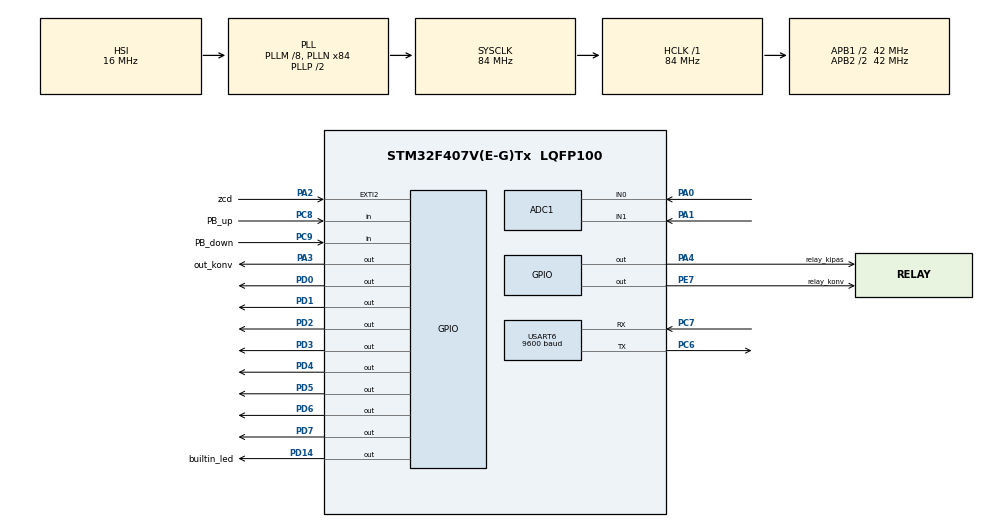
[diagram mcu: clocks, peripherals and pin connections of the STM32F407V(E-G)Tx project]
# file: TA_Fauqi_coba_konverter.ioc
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ADC1.Channel-0\#ChannelRegularConversion=ADC_CHANNEL_0
ADC1.Channel-1\#ChannelRegularConversion=ADC_CHANNEL_1
ADC1.ClockPrescaler=ADC_CLOCK_SYNC_PCLK_DIV8
ADC1.ContinuousConvMode=ENABLE
ADC1.DMAContinuousRequests=ENABLE
ADC1.NbrOfConversion=2
ADC1.NbrOfConversionFlag=1
ADC1.Rank-0\#ChannelRegularConversion=1
ADC1.Rank-1\#ChannelRegularConversion=2
ADC1.SamplingTime-0\#ChannelRegularConversion=ADC_SAMPLETIME_480CYCLES
ADC1.SamplingTime-1\#ChannelRegularConversion=ADC_SAMPLETIME_480CYCLES
ADC1.ScanConvMode=ENABLE
ADC1.master=1
Dma.ADC1.0.Direction=DMA_PERIPH_TO_MEMORY
Dma.ADC1.0.FIFOMode=DMA_FIFOMODE_DISABLE
Dma.ADC1.0.Instance=DMA2_Stream0
Dma.ADC1.0.MemDataAlignment=DMA_MDATAALIGN_HALFWORD
Dma.ADC1.0.MemInc=DMA_MINC_ENABLE
Dma.ADC1.0.Mode=DMA_CIRCULAR
Dma.ADC1.0.PeriphDataAlignment=DMA_PDATAALIGN_HALFWORD
Dma.ADC1.0.PeriphInc=DMA_PINC_DISABLE
Dma.ADC1.0.Priority=DMA_PRIORITY_LOW
Dma.Request0=ADC1
Dma.Request1=USART6_RX
Dma.Request2=USART6_TX
Dma.USART6_RX.1.Direction=DMA_PERIPH_TO_MEMORY
Dma.USART6_RX.1.FIFOMode=DMA_FIFOMODE_DISABLE
Dma.USART6_RX.1.Instance=DMA2_Stream1
Dma.USART6_RX.1.MemDataAlignment=DMA_MDATAALIGN_BYTE
Dma.USART6_RX.1.MemInc=DMA_MINC_ENABLE
Dma.USART6_RX.1.Mode=DMA_NORMAL
Dma.USART6_RX.1.PeriphDataAlignment=DMA_PDATAALIGN_BYTE
Dma.USART6_RX.1.PeriphInc=DMA_PINC_DISABLE
Dma.USART6_RX.1.Priority=DMA_PRIORITY_VERY_HIGH
Dma.USART6_TX.2.Direction=DMA_MEMORY_TO_PERIPH
Dma.USART6_TX.2.FIFOMode=DMA_FIFOMODE_DISABLE
Dma.USART6_TX.2.Instance=DMA2_Stream6
Dma.USART6_TX.2.MemDataAlignment=DMA_MDATAALIGN_BYTE
Dma.USART6_TX.2.MemInc=DMA_MINC_ENABLE
Dma.USART6_TX.2.Mode=DMA_NORMAL
Dma.USART6_TX.2.PeriphDataAlignment=DMA_PDATAALIGN_BYTE
Dma.USART6_TX.2.PeriphInc=DMA_PINC_DISABLE
Dma.USART6_TX.2.Priority=DMA_PRIORITY_LOW
Mcu.Family=STM32F4
Mcu.Name=STM32F407V(E-G)Tx
Mcu.Package=LQFP100
NVIC.ADC_IRQn=true\:0\:0\:false\:false\:true\:true\:true
NVIC.DMA2_Stream0_IRQn=true\:0\:0\:false\:false\:true\:false\:true
NVIC.DMA2_Stream1_IRQn=true\:0\:0\:false\:false\:true\:false\:true
NVIC.DMA2_Stream6_IRQn=true\:0\:0\:false\:false\:true\:false\:true
NVIC.EXTI2_IRQn=true\:0\:0\:false\:false\:true\:true\:true
NVIC.PriorityGroup=NVIC_PRIORITYGROUP_4
NVIC.TIM1_BRK_TIM9_IRQn=true\:0\:0\:false\:false\:true\:true\:true
NVIC.TIM1_CC_IRQn=true\:0\:0\:false\:false\:true\:true\:true
NVIC.TIM1_TRG_COM_TIM11_IRQn=true\:0\:0\:false\:false\:true\:true\:true
NVIC.TIM1_UP_TIM10_IRQn=true\:0\:0\:false\:false\:true\:true\:true
NVIC.USART6_IRQn=true\:0\:0\:false\:false\:true\:true\:true
PA0-WKUP.Signal=ADCx_IN0
PA1.Signal=ADCx_IN1
PA2.GPIO_Label=zcd
PA2.GPIO_ModeDefaultEXTI=GPIO_MODE_IT_RISING
PA2.Signal=GPXTI2
PA3.GPIO_Label=out_konv
PA3.Signal=GPIO_Output
PA4.GPIO_Label=relay_kipas
PA4.Signal=GPIO_Output
PC6.Mode=Asynchronous
PC6.Signal=USART6_TX
PC7.Mode=Asynchronous
PC7.Signal=USART6_RX
PC8.GPIO_Label=PB_up
PC8.Signal=GPIO_Input
PC9.GPIO_Label=PB_down
PC9.Signal=GPIO_Input
PD0.Signal=GPIO_Output
PD1.Signal=GPIO_Output
PD14.GPIO_Label=builtin_led
PD14.Signal=GPIO_Output
PD2.Signal=GPIO_Output
PD3.Signal=GPIO_Output
PD4.Signal=GPIO_Output
PD5.Signal=GPIO_Output
PD6.Signal=GPIO_Output
PD7.Signal=GPIO_Output
PE7.GPIO_Label=relay_konv
PE7.Signal=GPIO_Output
PH0-OSC_IN.Mode=HSE-External-Oscillator
PH0-OSC_IN.Signal=RCC_OSC_IN
PH1-OSC_OUT.Mode=HSE-External-Oscillator
PH1-OSC_OUT.Signal=RCC_OSC_OUT
ProjectManager.HeapSize=0x200
ProjectManager.StackSize=0x400
ProjectManager.TargetToolchain=MDK-ARM V5
RCC.48MHZClocksFreq_Value=42000000
RCC.AHBFreq_Value=84000000
RCC.APB1CLKDivider=RCC_HCLK_DIV2
RCC.APB1Freq_Value=42000000
RCC.APB1TimFreq_Value=84000000
RCC.APB2CLKDivider=RCC_HCLK_DIV2
RCC.APB2Freq_Value=42000000
RCC.APB2TimFreq_Value=84000000
RCC.CortexFreq_Value=84000000
RCC.HCLKFreq_Value=84000000
RCC.HSE_VALUE=25000000
RCC.HSI_VALUE=16000000
RCC.LSE_VALUE=32768
RCC.PLLM=8
RCC.PLLN=84
RCC.SYSCLKFreq_VALUE=84000000
RCC.SYSCLKSource=RCC_SYSCLKSOURCE_PLLCLK
RCC.VCOOutputFreq_Value=168000000
SH.ADCx_IN0.0=ADC1_IN0,IN0
SH.ADCx_IN1.0=ADC1_IN1,IN1
TIM1.AutoReloadPreload=TIM_AUTORELOAD_PRELOAD_ENABLE
TIM1.Period=9
TIM1.Prescaler=41
TIM1.TIM_MasterOutputTrigger=TIM_TRGO_UPDATE
USART6.BaudRate=9600
USART6.VirtualMode=VM_ASYNC
VP_TIM1_VS_ClockSourceINT.Mode=Internal
board=custom

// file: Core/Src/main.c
/* USER CODE BEGIN Header */
/**
  ******************************************************************************
  * @file           : main.c
  * @brief          : Main program body
  ******************************************************************************
  * @attention
  *
  * Copyright (c) 2022 STMicroelectronics.
  * All rights reserved.
  *
  * This software is licensed under terms that can be found in the LICENSE file
  * in the root directory of this software component.
  * If no LICENSE file comes with this software, it is provided AS-IS.
  *
  ******************************************************************************
  */
/* USER CODE END Header */
#include "main.h"
//cek
/* USER CODE BEGIN Includes */
#include"math.h"
#include "lcd_character.h"
#include "string.h"
#include "stdio.h"
#include "stdlib.h"
/* USER CODE END Includes */

/* USER CODE BEGIN PTD */
#define SampleData 1000
#define Vzero1 0.0
__IO uint16_t Nilai_ADC[2];

int firing_delay = 7400;
int maximum_firing_delay = 7400;
unsigned long previousMillis = 0;
unsigned long currentMillis = 0;
int temp_read_Delay = 500;
float real_temperature = 0;

//PID variables
float PID_error = 0;
float previous_error = 0;
float elapsedTime, Time, timePrev;
int PID_value = 0;
//PID constants
float kp = 180;   float ki= 0.00421;   float kd = 0;
float PID_p = 0;    float PID_i = 0;    float PID_d = 0;

unsigned int millis_value=0;
int v=0;
float errors=0;
int on=0,i,k=0;
float Iinput, Vinput,out_fis;
int asum=0, adata=0, a[500];
double Vsq [SampleData], Vrms[1], ADCVrms[1], Vsum[1], Vadc[1], iadcx[1];
double Vsq2 [SampleData], Vrms2[1], ADCVrms2[1], Vsum2[1], Vadc2[1], iadcx2[1];
uint32_t Tegangan[1];
int alert=0;
int flag_ds=0;
float ds=0;
float data[11];
float temp_data[11];
int count_sd=0;
float sudut=90;
double p;
int dataADC,dataADC2,dataADC3;
float Voltage,Voltage2;
float VDC;
float ecurrent;
float offset = 2500;
float sensitivity=100;
char buff[15];
char buff2[15];
char buff3[15];
char buff4[99]="0";
char TX_Data[99]="0";
char RX_Data[2]="0";
float daya;
int flag =0;
int flag2=0;
int flag_error=0;
unsigned int millis=0;
unsigned int millis_serial=0;
int c1=0;
int dat=0;
int count=0;
int cDelay=0;
int del=1000;
int relay_state=0;
float set_point=61.0;
//protokol
char header[15]="$fauqi";
char csuhu[15]="50";
char ctegangan[15]="150";
char csudut[15]="120";
char cerror[99]="40";
char cderror[99]="5";
char cout_fis[99]="0.5";
char crelay_state[15]="0";
char cset_point[15]="0";
char koma[15]=",";
char b[15]="\r\n";
int flag_konv=0;
//int sudut =0;
int count2=0;
int count3=0;
int counter=1200;
float set_tegangan=100.0;

float buff_sudut=0;

float nadi, suhu,error,derror=0,error2;
float A, B;

//mf gw

float in1mf1[] = {-7.895, -1.154, 5.558};
float in1mf2[] = {-0.4191, 5.897, 13.39};
float in1mf3[] = {6.149, 13.36, 20.48};
float in1mf4[] = {13.38, 20.48, 27.58};
float in1mf5[] = {20.48, 27.58, 34.68};
float in1mf6[] = {27.58, 34.67, 41.77};
float in1mf7[] = {34.67, 41.77, 48.87};

float in2mf1[] ={-29.58, -0.844, 27.9};
float in2mf2[] ={-0.844, 27.9, 56.64};
float in2mf3[] ={27.9, 56.64, 85.38};
float in2mf4[] ={56.64, 85.38, 114.1};
float in2mf5[] ={85.38, 114.1, 142.9};
float in2mf6[] ={114, 143, 172};
float in2mf7[] ={143, 171, 200};

float out1mf1=     0.5955;
float out1mf2=    -1.208;
float out1mf3=    0;
float out1mf4=  0;
float out1mf5=  0;
float out1mf6=  0;
float out1mf7=  0;
float out1mf8=    -0.06062;
float out1mf9=     -0.5566;
float out1mf10=   0;
float out1mf11=    0;
float out1mf12=   0;
float out1mf13=  0;
float out1mf14=  0;
float out1mf15=     0.02497;
float out1mf16=    0.09772;
float out1mf17=    0;
float out1mf18=    0;
float out1mf19=   0;
float out1mf20=  0;
float out1mf21=  0;
float out1mf22=    -0.008926;
float out1mf23=     -0.008133;
float out1mf24=    0;
float out1mf25=   0;
float out1mf26=   0;
float out1mf27=   0;
float out1mf28=  0;
float out1mf29=     0.002447;
float out1mf30=    0.0397;
float out1mf31=   0;
float out1mf32=   0;
float out1mf33=    0;
float out1mf34=    0;
float out1mf35=  0;
float out1mf36=    -0.00501;
float out1mf37=     -0.1189;
float out1mf38=   0 ;
float out1mf39=    0;
float out1mf40=    0;
float out1mf41=   0 ;
float out1mf42=   0 ;
float out1mf43=   0;
float out1mf44=   0 ;
float out1mf45=   0;
float out1mf46=  0 ;
float out1mf47=    0;
float out1mf48=   0;
float out1mf49=   0;

float minr[50];
float Rule[50];

/* USER CODE END PTD */

/* USER CODE BEGIN PD */
float calculateSD(float data[]) {
    float sum = 0.0, mean, SD = 0.0;
    int i;
    for (i = 0; i < 10; ++i) {
        sum += data[i];
    }
    mean = sum / 10;
    for (i = 0; i < 10; ++i) {
        SD += pow(data[i] - mean, 2);
    }
    return sqrt(SD / 10);
}

float fin1mf1()
{
        if (error < in1mf1[1])
    {
        return 1;
    }
        else if (error >= in1mf1[1] && error <= in1mf1[2])
    {
        return (in1mf1[2] - error) / (in1mf1[2] - in1mf1[1]);
    }
        else if (error > in1mf1[2])
    {
        return 0;
    }

}
float fin1mf2()
{
    if (error < in1mf2[0])
    {
        return 0;
    }
    else if (error >= in1mf2[0] && error <= in1mf2[1])
    {
        return (error - in1mf2[0]) / (in1mf2[1] - in1mf2[0]);
    }
    else if (error >= in1mf1[1] && error <= in1mf2[2])
    {
        return (in1mf2[2] - error) / (in1mf2[2] - in1mf2[1]);
    }
    else if (error > in1mf2[2])
    {
        return 0;
    }

}

float fin1mf3()
{
    if (error < in1mf3[0])
    {
        return 0;
    }
    else if (error >= in1mf3[0] && error <= in1mf3[1])
    {
        return (error - in1mf3[0]) / (in1mf3[1] - in1mf3[0]);
    }
    else if (error >= in1mf3[1] && error <= in1mf3[2])
    {
        return (in1mf3[2] - error) / (in1mf3[2] - in1mf3[1]);
    }
    else if (error > in1mf3[2])
    {
        return 0;
    }

}

float fin1mf4()
{
    if (error < in1mf4[0])
    {
        return 0;
    }
    else if (error >= in1mf4[0] && error <= in1mf4[1])
    {
        return (error - in1mf4[0]) / (in1mf4[1] - in1mf4[0]);
    }
    else if (error >= in1mf4[1] && error <= in1mf4[2])
    {
        return (in1mf4[2] - error) / (in1mf4[2] - in1mf4[1]);
    }
    else if (error > in1mf4[2])
    {
        return 0;
    }

}
float fin1mf5()
{
    if (error < in1mf5[0])
    {
        return 0;
    }
    else if (error >= in1mf5[0] && error <= in1mf5[1])
    {
        return (error - in1mf5[0]) / (in1mf5[1] - in1mf5[0]);
    }
    else if (error >= in1mf5[1] && error <= in1mf5[2])
    {
        return (in1mf5[2] - error) / (in1mf5[2] - in1mf5[1]);
    }
    else if (error > in1mf5[2])
    {
        return 0;
    }

}

float fin1mf6()
{
    if (error < in1mf6[0])
    {
        return 0;
    }
    else if (error >= in1mf6[0] && error <= in1mf6[1])
    {
        return (error - in1mf6[0]) / (in1mf6[1] - in1mf6[0]);
    }
    else if (error >= in1mf6[1] && error <= in1mf6[2])
    {
        return (in1mf6[2] - error) / (in1mf6[2] - in1mf6[1]);
    }
    else if (error > in1mf6[2])
    {
        return 0;
    }

}

float fin1mf7()
{
    if (error < in1mf7[0])
    {
        return 0;
    }
    else if (error >= in1mf7[0] && error <= in1mf7[1])
    {
        return (error - in1mf7[0]) / (in1mf7[1] - in1mf7[0]);
    }
    else if (error > in1mf7[1])
    {
        return 1;
    }
}

float fin2mf1()
{
        if (derror < in2mf1[1])
    {
        return 1;
    }
        else if (derror >= in2mf1[1] && derror <= in2mf1[2])
    {
        return (in2mf1[2] - derror) / (in2mf1[2] - in2mf1[1]);
    }
        else if (derror > in2mf1[2])
    {
        return 0;
    }

}
float fin2mf2()
{
    if (derror < in2mf2[0])
    {
        return 0;
    }
    else if (derror >= in2mf2[0] && derror <= in2mf2[1])
    {
        return (derror - in2mf2[0]) / (in2mf2[1] - in2mf2[0]);
    }
    else if (derror >= in2mf2[1] && derror <= in2mf2[2])
    {
        return (in2mf2[2] - derror) / (in2mf2[2] - in2mf2[1]);
    }
    else if (derror > in2mf2[2])
    {
        return 0;
    }

}
float fin2mf3()
{
    if (derror < in2mf3[0])
    {
        return 0;
    }
    else if (derror >= in2mf3[0] && derror <= in2mf3[1])
    {
        return (derror - in2mf3[0]) / (in2mf3[1] - in2mf3[0]);
    }
    else if (derror >= in2mf3[1] && derror <= in2mf3[2])
    {
        return (in2mf3[2] - derror) / (in2mf3[2] - in2mf3[1]);
    }
    else if (derror > in2mf3[2])
    {
        return 0;
    }

}
float fin2mf4()
{
    if (derror < in2mf4[0])
    {
        return 0;
    }
    else if (derror >= in2mf4[0] && derror <= in2mf4[1])
    {
        return (derror - in2mf4[0]) / (in2mf4[1] - in2mf4[0]);
    }
    else if (derror >= in2mf4[1] && derror <= in2mf4[2])
    {
        return (in2mf4[2] - derror) / (in2mf4[2] - in2mf4[1]);
    }
    else if (derror > in2mf4[2])
    {
        return 0;
    }

}

float fin2mf5()
{
    if (derror < in2mf5[0])
    {
        return 0;
    }
    else if (derror >= in2mf5[0] && derror <= in2mf5[1])
    {
        return (derror - in2mf5[0]) / (in2mf5[1] - in2mf5[0]);
    }
    else if (derror >= in2mf5[1] && derror <= in2mf5[2])
    {
        return (in2mf5[2] - derror) / (in2mf5[2] - in2mf5[1]);
    }
    else if (derror > in2mf5[2])
    {
        return 0;
    }

}
float fin2mf6()
{
    if (derror < in2mf6[0])
    {
        return 0;
    }
    else if (derror >= in2mf6[0] && derror <= in2mf6[1])
    {
        return (derror - in2mf6[0]) / (in2mf6[1] - in2mf6[0]);
    }
    else if (derror >= in2mf6[1] && derror <= in2mf6[2])
    {
        return (in2mf6[2] - derror) / (in2mf6[2] - in2mf6[1]);
    }
    else if (derror > in2mf6[2])
    {
        return 0;
    }

}
float fin2mf7()
{
    if (derror < in2mf7[0])
    {
        return 0;
    }
    else if (derror >= in2mf7[0] && derror <= in2mf7[1])
    {
        return (derror - in2mf7[0]) / (in2mf7[1] - in2mf7[0]);
    }
    else if (derror > in2mf7[1])
    {
        return 1;
    }
}

float Min(float a, float b)
{
    if (a < b)
    {
        return a;
    }
    else if (b < a)
    {
        return b;
    }
    else
    {
        return a;
    }
}

void rule()
{
    minr[1] = Min(fin1mf1(), fin2mf1());
    Rule[1] = out1mf1;
    minr[2] = Min(fin1mf1(), fin2mf2());
    Rule[2] = out1mf2;
    minr[3] = Min(fin1mf1(), fin2mf3());
    Rule[3] = out1mf3;
    minr[4] = Min(fin1mf1(), fin2mf4());
    Rule[4] = out1mf4;
    minr[5] = Min(fin1mf1(), fin2mf5());
    Rule[5] = out1mf5;
    minr[6] = Min(fin1mf1(), fin2mf6());
    Rule[6] = out1mf6;
    minr[7] = Min(fin1mf1(), fin2mf7());
    Rule[7] = out1mf7;

    minr[8] = Min(fin1mf2(), fin2mf1());
    Rule[8] = out1mf8;
    minr[9] = Min(fin1mf2(), fin2mf2());
    Rule[9] = out1mf9;
    minr[10] = Min(fin1mf2(), fin2mf3());
    Rule[10] = out1mf10;
    minr[11] = Min(fin1mf2(), fin2mf4());
    Rule[11] = out1mf11;
    minr[12] = Min(fin1mf2(), fin2mf5());
    Rule[12] = out1mf12;
    minr[13] = Min(fin1mf2(), fin2mf6());
    Rule[13] = out1mf13;
    minr[14] = Min(fin1mf2(), fin2mf7());
    Rule[14] = out1mf14;

    minr[15] = Min(fin1mf3(), fin2mf1());
    Rule[15] = out1mf15;
    minr[16] = Min(fin1mf3(), fin2mf2());
    Rule[16] = out1mf16;
    minr[17] = Min(fin1mf3(), fin2mf3());
    Rule[17] = out1mf17;
    minr[18] = Min(fin1mf3(), fin2mf4());
    Rule[19] = out1mf18;
    minr[19] = Min(fin1mf3(), fin2mf5());
    Rule[19] = out1mf19;
    minr[20] = Min(fin1mf3(), fin2mf6());
    Rule[20] = out1mf20;
    minr[21] = Min(fin1mf3(), fin2mf7());
    Rule[21] = out1mf21;

     minr[22] = Min(fin1mf4(), fin2mf1());
    Rule[22] = out1mf22;
    minr[23] = Min(fin1mf4(), fin2mf2());
    Rule[23] = out1mf23;
    minr[24] = Min(fin1mf4(), fin2mf3());
    Rule[24] = out1mf24;
    minr[25] = Min(fin1mf4(), fin2mf4());
    Rule[25] = out1mf25;
    minr[26] = Min(fin1mf4(), fin2mf5());
    Rule[26] = out1mf26;
    minr[27] = Min(fin1mf4(), fin2mf6());
    Rule[27] = out1mf27;
    minr[28] = Min(fin1mf4(), fin2mf7());
    Rule[28] = out1mf28;

    minr[29] = Min(fin1mf5(), fin2mf1());
    Rule[29] = out1mf29;
    minr[30] = Min(fin1mf5(), fin2mf2());
    Rule[30] = out1mf30;
    minr[31] = Min(fin1mf5(), fin2mf3());
    Rule[31] = out1mf31;
    minr[32] = Min(fin1mf5(), fin2mf4());
    Rule[32] = out1mf32;
    minr[33] = Min(fin1mf5(), fin2mf5());
    Rule[33] = out1mf33;
    minr[34] = Min(fin1mf5(), fin2mf6());
    Rule[34] = out1mf34;
    minr[35] = Min(fin1mf5(), fin2mf7());
    Rule[35] = out1mf35;

    minr[36] = Min(fin1mf6(), fin2mf1());
    Rule[36] = out1mf36;
    minr[37] = Min(fin1mf6(), fin2mf2());
    Rule[37] = out1mf37;
    minr[38] = Min(fin1mf6(), fin2mf3());
    Rule[38] = out1mf38;
    minr[39] = Min(fin1mf6(), fin2mf4());
    Rule[39] = out1mf39;
    minr[40] = Min(fin1mf6(), fin2mf5());
    Rule[40] = out1mf40;
    minr[41] = Min(fin1mf6(), fin2mf6());
    Rule[41] = out1mf41;
    minr[42] = Min(fin1mf6(), fin2mf7());
    Rule[42] = out1mf42;

    minr[43] = Min(fin1mf7(), fin2mf7());
    Rule[43] = out1mf43;
    minr[44] = Min(fin1mf7(), fin2mf1());
    Rule[44] = out1mf44;
    minr[45] = Min(fin1mf7(), fin2mf2());
    Rule[45] = out1mf45;
    minr[46] = Min(fin1mf7(), fin2mf3());
    Rule[46] = out1mf46;
    minr[47] = Min(fin1mf7(), fin2mf4());
    Rule[47] = out1mf47;
    minr[48] = Min(fin1mf7(), fin2mf5());
    Rule[48] = out1mf48;
    minr[49] = Min(fin1mf7(), fin2mf6());
    Rule[49] = out1mf49;

}
float A, B;
float defuzzyfikasi()
{
    rule();
    A = 0;
    B = 0;
	int i;
    for(i = 1; i <= 49; i++)
    {

        A += Rule[i] * minr[i];
        B += minr[i];
    }

    return A / B;
}

void reverse(char* str, int len)
{
    int i = 0, j = len - 1, temp;
    while (i < j) {
        temp = str[i];
        str[i] = str[j];
        str[j] = temp;
        i++;
        j--;
    }
}

// Converts a given integer x to string str[].
// d is the number of digits required in the output.
// If d is more than the number of digits in x,
// then 0s are added at the beginning.
int intToStr(int x, char str[], int d)
{
    int i = 0;
    while (x) {
        str[i++] = (x % 10) + '0';
        x = x / 10;
    }

    // If number of digits required is more, then
    // add 0s at the beginning
    while (i < d)
        str[i++] = '0';

    reverse(str, i);
    str[i] = '\0';
    return i;
}

// Converts a floating-point/double number to a string.
void ftoa(float n, char* res, int afterpoint)
{
    // Extract integer part
    int ipart = (int)n;

    // Extract floating part
    float fpart = n - (float)ipart;

    // convert integer part to string
    int i = intToStr(ipart, res, 0);

    // check for display option after point
    if (afterpoint != 0) {
        res[i] = '.'; // add dot

        // Get the value of fraction part upto given no.
        // of points after dot. The third parameter
        // is needed to handle cases like 233.007
        fpart = fpart * pow(10, afterpoint);

        intToStr((int)fpart, res + i + 1, afterpoint);
    }
}
/* USER CODE END PD */

ADC_HandleTypeDef hadc1;
DMA_HandleTypeDef hdma_adc1;

TIM_HandleTypeDef htim1;

UART_HandleTypeDef huart6;
DMA_HandleTypeDef hdma_usart6_rx;
DMA_HandleTypeDef hdma_usart6_tx;

void SystemClock_Config(void);
static void MX_GPIO_Init(void);
static void MX_TIM1_Init(void);
static void MX_DMA_Init(void);
static void MX_ADC1_Init(void);
static void MX_USART6_UART_Init(void);

int main(void)
{

  /* MCU Configuration--------------------------------------------------------*/

  /* Reset of all peripherals, Initializes the Flash interface and the Systick. */
  HAL_Init();

  /* Configure the system clock */
  SystemClock_Config();

  /* Initialize all configured peripherals */
  MX_GPIO_Init();
  MX_TIM1_Init();
  MX_DMA_Init();
  MX_ADC1_Init();
  MX_USART6_UART_Init();
  /* USER CODE BEGIN 2 */

	lcd_init();
	HAL_TIM_Base_Start_IT(&htim1);
	HAL_ADC_Start_DMA(&hadc1,(uint32_t*)Nilai_ADC,2);
  HAL_GPIO_WritePin(GPIOE,relay_konv_Pin,GPIO_PIN_SET);
  	 HAL_UART_Receive_IT(&huart6, (uint8_t *)RX_Data, 2);
	 HAL_UART_Transmit_IT(&huart6, (uint8_t *)TX_Data, 5);
  /* USER CODE END 2 */

  /* Infinite loop */
  /* USER CODE BEGIN WHILE */
  while (1)
  {

	//tobe deleted
//		if (flag==0)
//		{
//			sudut =90;
//			flag=1;
//		}

			if(HAL_GPIO_ReadPin(GPIOC,PB_up_Pin)==1)
			{

				while(HAL_GPIO_ReadPin(GPIOC,PB_up_Pin)==1){

//				counter=counter+1;
					kp=kp+5;
				sprintf(buff, "kp:%2f",kp);
			// HAL_Delay(100);
					HAL_Delay(50);
			lcd_gotoxy(0,3);
			lcd_puts(buff);
				}
			}
					if(HAL_GPIO_ReadPin(GPIOC,PB_down_Pin)==1)
			{

				while(HAL_GPIO_ReadPin(GPIOC,PB_down_Pin)==1){

//				counter=counter-1;
					kp=kp-5;
//				sprintf(buff, "counter:%4d",counter);
					sprintf(buff, "kp:%2f",kp);
					HAL_Delay(50);
			// HAL_Delay(100);
			lcd_gotoxy(0,3);
			lcd_puts(buff);
				}
			}

//    if(Vrms[0]>set_tegangan+0.5)
// 		{
// 			counter = counter+1;
// 		}
// 		else if(Vrms[0]<set_tegangan-0.5)
// 		{
// 			counter = counter-1;
// 		}
// 		else if (Vrms[0]>=set_tegangan-0.5&&Vrms[0]<=set_tegangan-0.5)
// 		{
// 			counter=counter;
// 		}

    if (flag_error==0)
    {
    error =set_point-Vrms2[0];
    // error=ds;
    flag_error=1;

    }

    else
    {   error2=set_point-Vrms2[0];
        derror =error-error2;
        // derror=ds;
        error=error2;
    }

    out_fis=defuzzyfikasi();
		if(out_fis>=0)
			if(out_fis<=0.7)
    sudut = out_fis*180.0;

	if(sudut>=0.0 && sudut <=180.0)
	{
      p=((0.01*sudut)/180)/0.000005;
	  counter=floor(p);
	}

		sprintf(buff, "firing:90");
		// HAL_Delay(100);
//		lcd_gotoxy(0,0);
//		lcd_puts("uji Perhitungan FIS");
		// HAL_Delay(100);
   //Vrms[0] = 0.3131*ADCVrms[0] + 0.1456;
		Vrms[0] = (pow(0.00000089243517154025*ADCVrms[0],3)) - (pow(0.00059932512401010900*ADCVrms[0],2)) + (0.36291475608663000000*ADCVrms[0]) - (22.56728795362070000000);

		sprintf(buff, "Vrms:%3.5f",Vrms[0]);
		HAL_Delay(300);
		lcd_gotoxy(0,1);
		lcd_puts(buff);
		ftoa(Vrms[0],buff2,2);

		sprintf(buff, "Suhu:%3.5f",Vrms2[0]);
		// HAL_Delay(100);
		lcd_gotoxy(0,2);
		lcd_puts(buff);
		sprintf(buff, "counter:%4d",counter);
		// HAL_Delay(100);
		errors=error;
		lcd_gotoxy(0,3);
		lcd_puts(buff);
		ftoa(Vrms[0],ctegangan,2);
		ftoa(Vrms2[0],csuhu,2);
		if(counter == 1000)sudut=90.0;
		sprintf(csudut,"%2.2f",sudut);
//    ftoa(sudut,csudut,2);
//    ftoa(errors,cerror,2);
		sprintf(cerror,"%2.2f",error);
		sprintf(cderror,"%2.4f",derror);
//    ftoa(derror,cderror,4);
    sprintf(cout_fis,"%2.3f",out_fis);
//    ftoa(out_fis,cout_fis,2);
		lcd_gotoxy(0,0);

		lcd_puts(csudut);
		//membuat protokol
		strcpy(TX_Data,header);
		strcat(TX_Data,koma);
  	    strcat(TX_Data,csuhu);
    	strcat(TX_Data,koma);
		strcat(TX_Data,ctegangan);
		strcat(TX_Data,koma);
		strcat(TX_Data,csudut);
		strcat(TX_Data,koma);
		strcat(TX_Data,cerror);
		strcat(TX_Data,koma);
		strcat(TX_Data,cderror);
		strcat(TX_Data,koma);
		strcat(TX_Data,cout_fis);
		strcat(TX_Data,koma);
	  strcat(TX_Data,b);

    /* USER CODE END WHILE */

  }
}

void SystemClock_Config(void)
{
  RCC_OscInitTypeDef RCC_OscInitStruct = {0};
  RCC_ClkInitTypeDef RCC_ClkInitStruct = {0};

  /** Configure the main internal regulator output voltage
  */
  __HAL_RCC_PWR_CLK_ENABLE();
  __HAL_PWR_VOLTAGESCALING_CONFIG(PWR_REGULATOR_VOLTAGE_SCALE1);
  /** Initializes the RCC Oscillators according to the specified parameters
  * in the RCC_OscInitTypeDef structure.
  */
  RCC_OscInitStruct.OscillatorType = RCC_OSCILLATORTYPE_HSI;
  RCC_OscInitStruct.HSIState = RCC_HSI_ON;
  RCC_OscInitStruct.HSICalibrationValue = RCC_HSICALIBRATION_DEFAULT;
  RCC_OscInitStruct.PLL.PLLState = RCC_PLL_ON;
  RCC_OscInitStruct.PLL.PLLSource = RCC_PLLSOURCE_HSI;
  RCC_OscInitStruct.PLL.PLLM = 8;
  RCC_OscInitStruct.PLL.PLLN = 84;
  RCC_OscInitStruct.PLL.PLLP = RCC_PLLP_DIV2;
  RCC_OscInitStruct.PLL.PLLQ = 4;
  if (HAL_RCC_OscConfig(&RCC_OscInitStruct) != HAL_OK)
  {
    Error_Handler();
  }
  /** Initializes the CPU, AHB and APB buses clocks
  */
  RCC_ClkInitStruct.ClockType = RCC_CLOCKTYPE_HCLK|RCC_CLOCKTYPE_SYSCLK
                              |RCC_CLOCKTYPE_PCLK1|RCC_CLOCKTYPE_PCLK2;
  RCC_ClkInitStruct.SYSCLKSource = RCC_SYSCLKSOURCE_PLLCLK;
  RCC_ClkInitStruct.AHBCLKDivider = RCC_SYSCLK_DIV1;
  RCC_ClkInitStruct.APB1CLKDivider = RCC_HCLK_DIV2;
  RCC_ClkInitStruct.APB2CLKDivider = RCC_HCLK_DIV2;

  if (HAL_RCC_ClockConfig(&RCC_ClkInitStruct, FLASH_LATENCY_2) != HAL_OK)
  {
    Error_Handler();
  }
}

static void MX_ADC1_Init(void)
{

  ADC_ChannelConfTypeDef sConfig = {0};

  /** Configure the global features of the ADC (Clock, Resolution, Data Alignment and number of conversion)
  */
  hadc1.Instance = ADC1;
  hadc1.Init.ClockPrescaler = ADC_CLOCK_SYNC_PCLK_DIV8;
  hadc1.Init.Resolution = ADC_RESOLUTION_12B;
  hadc1.Init.ScanConvMode = ENABLE;
  hadc1.Init.ContinuousConvMode = ENABLE;
  hadc1.Init.DiscontinuousConvMode = DISABLE;
  hadc1.Init.ExternalTrigConvEdge = ADC_EXTERNALTRIGCONVEDGE_NONE;
  hadc1.Init.ExternalTrigConv = ADC_SOFTWARE_START;
  hadc1.Init.DataAlign = ADC_DATAALIGN_RIGHT;
  hadc1.Init.NbrOfConversion = 2;
  hadc1.Init.DMAContinuousRequests = ENABLE;
  hadc1.Init.EOCSelection = ADC_EOC_SINGLE_CONV;
  if (HAL_ADC_Init(&hadc1) != HAL_OK)
  {
    Error_Handler();
  }
  /** Configure for the selected ADC regular channel its corresponding rank in the sequencer and its sample time.
  */
  sConfig.Channel = ADC_CHANNEL_0;
  sConfig.Rank = 1;
  sConfig.SamplingTime = ADC_SAMPLETIME_480CYCLES;
  if (HAL_ADC_ConfigChannel(&hadc1, &sConfig) != HAL_OK)
  {
    Error_Handler();
  }
  /** Configure for the selected ADC regular channel its corresponding rank in the sequencer and its sample time.
  */
  sConfig.Channel = ADC_CHANNEL_1;
  sConfig.Rank = 2;
  if (HAL_ADC_ConfigChannel(&hadc1, &sConfig) != HAL_OK)
  {
    Error_Handler();
  }

}

static void MX_TIM1_Init(void)
{

  TIM_ClockConfigTypeDef sClockSourceConfig = {0};
  TIM_MasterConfigTypeDef sMasterConfig = {0};

  htim1.Instance = TIM1;
  htim1.Init.Prescaler = 41;
  htim1.Init.CounterMode = TIM_COUNTERMODE_UP;
  htim1.Init.Period = 9;
  htim1.Init.ClockDivision = TIM_CLOCKDIVISION_DIV1;
  htim1.Init.RepetitionCounter = 0;
  htim1.Init.AutoReloadPreload = TIM_AUTORELOAD_PRELOAD_ENABLE;
  if (HAL_TIM_Base_Init(&htim1) != HAL_OK)
  {
    Error_Handler();
  }
  sClockSourceConfig.ClockSource = TIM_CLOCKSOURCE_INTERNAL;
  if (HAL_TIM_ConfigClockSource(&htim1, &sClockSourceConfig) != HAL_OK)
  {
    Error_Handler();
  }
  sMasterConfig.MasterOutputTrigger = TIM_TRGO_UPDATE;
  sMasterConfig.MasterSlaveMode = TIM_MASTERSLAVEMODE_DISABLE;
  if (HAL_TIMEx_MasterConfigSynchronization(&htim1, &sMasterConfig) != HAL_OK)
  {
    Error_Handler();
  }

}

static void MX_USART6_UART_Init(void)
{

  huart6.Instance = USART6;
  huart6.Init.BaudRate = 9600;
  huart6.Init.WordLength = UART_WORDLENGTH_8B;
  huart6.Init.StopBits = UART_STOPBITS_1;
  huart6.Init.Parity = UART_PARITY_NONE;
  huart6.Init.Mode = UART_MODE_TX_RX;
  huart6.Init.HwFlowCtl = UART_HWCONTROL_NONE;
  huart6.Init.OverSampling = UART_OVERSAMPLING_16;
  if (HAL_UART_Init(&huart6) != HAL_OK)
  {
    Error_Handler();
  }

}

static void MX_DMA_Init(void)
{

  /* DMA controller clock enable */
  __HAL_RCC_DMA2_CLK_ENABLE();

  /* DMA interrupt init */
  /* DMA2_Stream0_IRQn interrupt configuration */
  HAL_NVIC_SetPriority(DMA2_Stream0_IRQn, 0, 0);
  HAL_NVIC_EnableIRQ(DMA2_Stream0_IRQn);
  /* DMA2_Stream1_IRQn interrupt configuration */
  HAL_NVIC_SetPriority(DMA2_Stream1_IRQn, 0, 0);
  HAL_NVIC_EnableIRQ(DMA2_Stream1_IRQn);
  /* DMA2_Stream6_IRQn interrupt configuration */
  HAL_NVIC_SetPriority(DMA2_Stream6_IRQn, 0, 0);
  HAL_NVIC_EnableIRQ(DMA2_Stream6_IRQn);

}

static void MX_GPIO_Init(void)
{
  GPIO_InitTypeDef GPIO_InitStruct = {0};

  /* GPIO Ports Clock Enable */
  __HAL_RCC_GPIOH_CLK_ENABLE();
  __HAL_RCC_GPIOA_CLK_ENABLE();
  __HAL_RCC_GPIOE_CLK_ENABLE();
  __HAL_RCC_GPIOD_CLK_ENABLE();
  __HAL_RCC_GPIOC_CLK_ENABLE();

  /*Configure GPIO pin Output Level */
  HAL_GPIO_WritePin(GPIOA, out_konv_Pin|relay_kipas_Pin, GPIO_PIN_RESET);

  /*Configure GPIO pin Output Level */
  HAL_GPIO_WritePin(relay_konv_GPIO_Port, relay_konv_Pin, GPIO_PIN_RESET);

  /*Configure GPIO pin Output Level */
  HAL_GPIO_WritePin(GPIOD, builtin_led_Pin|GPIO_PIN_0|GPIO_PIN_1|GPIO_PIN_2
                          |GPIO_PIN_3|GPIO_PIN_4|GPIO_PIN_5|GPIO_PIN_6
                          |GPIO_PIN_7, GPIO_PIN_RESET);

  /*Configure GPIO pin : zcd_Pin */
  GPIO_InitStruct.Pin = zcd_Pin;
  GPIO_InitStruct.Mode = GPIO_MODE_IT_RISING;
  GPIO_InitStruct.Pull = GPIO_NOPULL;
  HAL_GPIO_Init(zcd_GPIO_Port, &GPIO_InitStruct);

  /*Configure GPIO pins : out_konv_Pin relay_kipas_Pin */
  GPIO_InitStruct.Pin = out_konv_Pin|relay_kipas_Pin;
  GPIO_InitStruct.Mode = GPIO_MODE_OUTPUT_PP;
  GPIO_InitStruct.Pull = GPIO_NOPULL;
  GPIO_InitStruct.Speed = GPIO_SPEED_FREQ_LOW;
  HAL_GPIO_Init(GPIOA, &GPIO_InitStruct);

  /*Configure GPIO pin : relay_konv_Pin */
  GPIO_InitStruct.Pin = relay_konv_Pin;
  GPIO_InitStruct.Mode = GPIO_MODE_OUTPUT_PP;
  GPIO_InitStruct.Pull = GPIO_NOPULL;
  GPIO_InitStruct.Speed = GPIO_SPEED_FREQ_LOW;
  HAL_GPIO_Init(relay_konv_GPIO_Port, &GPIO_InitStruct);

  /*Configure GPIO pins : builtin_led_Pin PD0 PD1 PD2
                           PD3 PD4 PD5 PD6
                           PD7 */
  GPIO_InitStruct.Pin = builtin_led_Pin|GPIO_PIN_0|GPIO_PIN_1|GPIO_PIN_2
                          |GPIO_PIN_3|GPIO_PIN_4|GPIO_PIN_5|GPIO_PIN_6
                          |GPIO_PIN_7;
  GPIO_InitStruct.Mode = GPIO_MODE_OUTPUT_PP;
  GPIO_InitStruct.Pull = GPIO_NOPULL;
  GPIO_InitStruct.Speed = GPIO_SPEED_FREQ_LOW;
  HAL_GPIO_Init(GPIOD, &GPIO_InitStruct);

  /*Configure GPIO pins : PB_up_Pin PB_down_Pin */
  GPIO_InitStruct.Pin = PB_up_Pin|PB_down_Pin;
  GPIO_InitStruct.Mode = GPIO_MODE_INPUT;
  GPIO_InitStruct.Pull = GPIO_NOPULL;
  HAL_GPIO_Init(GPIOC, &GPIO_InitStruct);

  /* EXTI interrupt init*/
  HAL_NVIC_SetPriority(EXTI2_IRQn, 0, 0);
  HAL_NVIC_EnableIRQ(EXTI2_IRQn);

}

/* USER CODE BEGIN 4 */
void HAL_TIM_PeriodElapsedCallback(TIM_HandleTypeDef *htim)
{
  /* Prevent unused argument(s) compilation warning */
  UNUSED(htim);

  /* NOTE : This function should not be modified, when the callback is needed,
            the HAL_TIM_PeriodElapsedCallback could be implemented in the user file
   */
		if(htim==&htim1)
		{
      //lontong
        v=v+1;
        if(v>=200)
        {
        millis_value=millis_value+1;
        v=0;
        }
		count=1300;
    count2=count2+1;
		millis_serial=millis_serial+1;
	if(flag_konv==1)
		millis=millis+1;
    	if(millis_serial>=200000)
	{
	//dat=dat+1;
//			intToStr(dat,TX_Data,5);
			HAL_UART_Transmit_IT(&huart6,(uint8_t *)TX_Data,strlen(TX_Data));
			HAL_GPIO_TogglePin(GPIOD,GPIO_PIN_12);
			millis_serial=0;
	}
	if (millis>=counter)
	{
//ktemu 5us
    flag_konv=0;
			HAL_GPIO_WritePin(GPIOA,GPIO_PIN_3,GPIO_PIN_SET);
			millis=0;
	}
  if(count2>=20)
  {
    Vadc[0]= Nilai_ADC[0]-1777;
		Vsum[0]-=Vsq[k];
		Vsq[k]= Vadc[0] * Vadc[0];
		Vsum[0]+=Vsq[k];
		ADCVrms[0]=sqrt((Vsum[0]/SampleData));
//    Vrms[0] = 0.3131*ADCVrms[0] + 0.1456;

		Vadc2[0]= Nilai_ADC[1];
		Vsum2[0]+=Vadc2[0];

    k++;
		if(k>=SampleData)
    {
		k=0;
    ADCVrms2[0]=(Vsum2[0]/SampleData);
		Vsq2[0]=(ADCVrms2[0]/4094)*3;
		// Vrms2[0]=Vsq2[0]*100;
        if(flag_ds==0)
        {
            for(int i=0;i<=10;i++)
            {
                data[i]=Vsq2[0]*100;
                temp_data[i]=Vsq2[0]*100;
            }
            flag_ds=1;
            count_sd=11;
        }
		else
		{
            for(int i=0;i<=10;i++)
            {
                temp_data[10]=Vsq2[0]*100;
                if(i>=1)
                {
                    temp_data[i]=temp_data[i+1];
                }
                else temp_data[0]=temp_data[1];
            }
            ds=calculateSD(temp_data);
            if(ds<=0.2)
            {
                for(int i=0;i<=10;i++)
                {
                    data[i]=temp_data[i];

                }
                Vrms2[0]=temp_data[9]-1.5;
            }
            else{
                    for(int x=0;x<=10;x++)
                {
                    temp_data[x]=data[x];
                }
                alert=1;
            }
		}

    // if(count_sd<=10){
    //     data[count_sd]=Vsq2[0]*100;
    //     count_sd++;
    //     // data[0]=45.0;
	// 	// 	data[3]=45.0;

    // }
    // else{
    //     ds=calculateSD(data);
    //    if(ds<0.2)
    //    {
    //        Vrms2[0]=data[9];
    //    }
    //    else alert=1;
    //    count_sd=0;

    // }

    Vsum2[0]=0;

//		tegangan = Vrms[0];
//		suhu = Vrms[1];
    }
    count2=0;
  }
}
		}
void HAL_UART_RxCpltCallback(UART_HandleTypeDef *huart)
{
  /* Prevent unused argument(s) compilation warning */
  UNUSED(huart);
  /* NOTE: This function should not be modified, when the callback is needed,
           the HAL_UART_RxCpltCallback could be implemented in the user file
   */
	if(strlen(RX_Data)<=2){
	HAL_UART_Receive_IT(&huart6, (uint8_t *)RX_Data,2);
	int data;
	if(strncmp(RX_Data,"lontong",strlen(RX_Data))==0){}
	data=atoi(RX_Data);
	if(data == 40)set_point=40.0;
	else if (data==50)set_point=50.0;
	else if (data ==61)set_point=61;
	else if(data==10) {relay_state=1;HAL_GPIO_WritePin(GPIOA,GPIO_PIN_4,GPIO_PIN_SET);}
	else if(data==11){relay_state=0;HAL_GPIO_WritePin(GPIOA,GPIO_PIN_4,GPIO_PIN_RESET);}
	else if(data==20) {relay_state=1;HAL_GPIO_WritePin(GPIOE,GPIO_PIN_7,GPIO_PIN_SET);}
	else if(data==21){relay_state=0;HAL_GPIO_WritePin(GPIOE,GPIO_PIN_7,GPIO_PIN_RESET);}
	strcpy(RX_Data,"");
	}
	else{}

}
void HAL_GPIO_EXTI_Callback(uint16_t GPIO_Pin)
{

  /* Prevent unused argument(s) compilation warning */
  UNUSED(GPIO_Pin);
  /* NOTE: This function Should not be modified, when the callback is needed,
           the HAL_GPIO_EXTI_Callback could be implemented in the user file
   */
		if(HAL_GPIO_ReadPin(GPIOA,GPIO_PIN_2)==1)
		{
	HAL_GPIO_WritePin(GPIOA,out_konv_Pin,GPIO_PIN_RESET);
  flag_konv=1;
		}

}
/* USER CODE END 4 */

void Error_Handler(void)
{
  __disable_irq();
  while (1)
  {
  }
}
